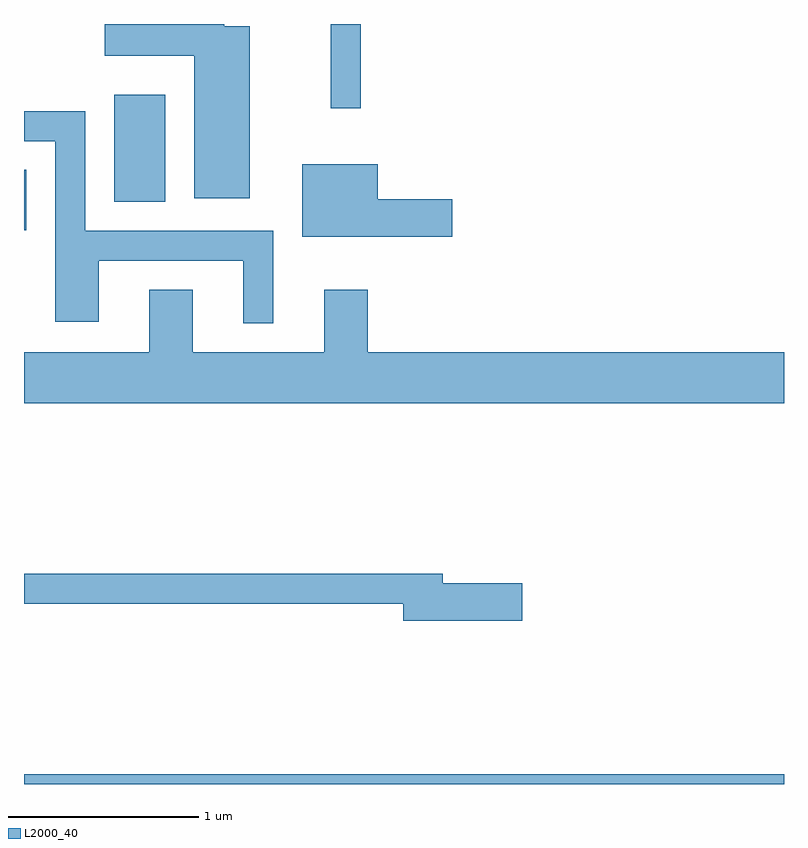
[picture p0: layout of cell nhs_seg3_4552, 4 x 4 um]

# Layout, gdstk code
import gdstk
lib = gdstk.Library(unit=1e-6, precision=1e-09)
def R(c, l, rs):  # rectangles x0, y0, x1, y1
    for r in rs: c.add(gdstk.rectangle(r[:2], r[2:], *l))
def P(c, l, *ps):  # polygons
    for p in ps: c.add(gdstk.Polygon(p, *l))
L2000_40 = (2000, 40)

nhs_seg3_4552 = lib.new_cell('nhs_seg3_4552')
R(nhs_seg3_4552, L2000_40, [(317.611,1243.892,321.611,1243.944), (317.611,1246.806,317.624,1247.124), (318.086,1246.956,318.354,1247.519), (319.226,1247.448,319.384,1247.892)])
P(nhs_seg3_4552, L2000_40, [(318.799,1247.879),(318.664,1247.879),(318.664,1247.892),(318.036,1247.892),(318.036,1247.726),(318.506,1247.726),(318.506,1246.976),(318.799,1246.976)],
  [(318.924,1246.804),(317.934,1246.804),(317.934,1247.434),(317.611,1247.434),(317.611,1247.276),(317.776,1247.276),(317.776,1246.326),(318.004,1246.326),(318.004,1246.646),(318.766,1246.646),(318.766,1246.318),(318.924,1246.318)],
  [(319.864,1246.969),(319.474,1246.969),(319.474,1247.154),(319.076,1247.154),(319.076,1246.771),(319.864,1246.771)],
  [(321.611,1246.164),(319.419,1246.164),(319.419,1246.494),(319.191,1246.494),(319.191,1246.164),(318.499,1246.164),(318.499,1246.494),(318.271,1246.494),(318.271,1246.164),(317.611,1246.164),(317.611,1245.896),(321.611,1245.896)],
  [(320.234,1244.949),(319.814,1244.949),(319.814,1244.999),(317.611,1244.999),(317.611,1244.841),(319.606,1244.841),(319.606,1244.751),(320.234,1244.751)])

lib.write_gds('nhs_seg3_4552.gds')
